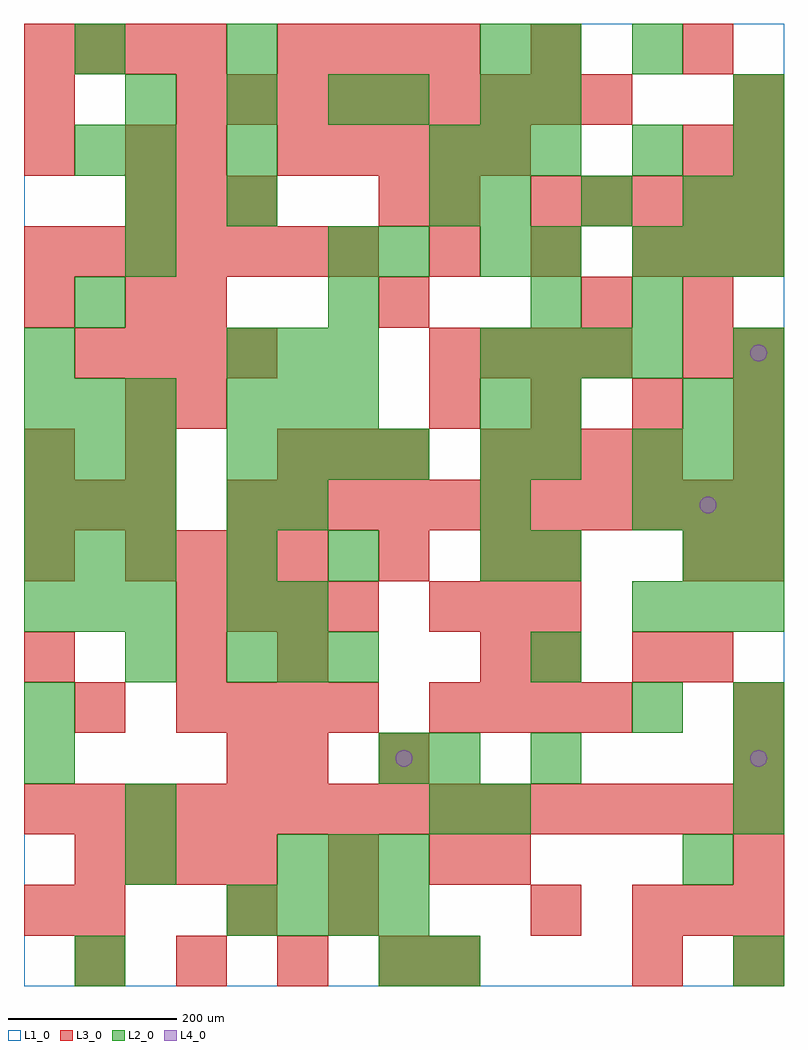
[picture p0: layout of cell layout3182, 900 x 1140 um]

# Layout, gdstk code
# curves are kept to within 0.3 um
import gdstk
lib = gdstk.Library(unit=1e-6, precision=1e-09)
def R(c, l, rs):  # rectangles x0, y0, x1, y1
    for r in rs: c.add(gdstk.rectangle(r[:2], r[2:], *l))
def A(c, l, x, y, w, h, nx, ny, dx, dy):  # array of equal rectangles
    R(c, l, [(x+i*dx, y+j*dy, x+i*dx+w, y+j*dy+h) for i in range(nx) for j in range(ny)])
def P(c, l, *ps):  # polygons
    for p in ps: c.add(gdstk.Polygon(p, *l))
L1_0 = (1, 0)
L2_0 = (2, 0)
L3_0 = (3, 0)
L4_0 = (4, 0)

layout3182 = lib.new_cell('layout3182')
R(layout3182, L1_0, [(0,0,900,1140)])
A(layout3182, L2_0, 240, 60, 60, 60, 4, 2, 60, 540)
A(layout3182, L2_0, 300, 120, 60, 60, 3, 1, 60, 0)
A(layout3182, L2_0, 840, 180, 60, 60, 1, 3, 0, 60)
A(layout3182, L2_0, 600, 240, 60, 60, 1, 4, 0, 120)
A(layout3182, L2_0, 240, 360, 60, 60, 3, 2, 60, 300)
A(layout3182, L2_0, 0, 420, 60, 60, 3, 5, 60, 60)
A(layout3182, L2_0, 240, 420, 60, 60, 1, 3, 0, 60)
A(layout3182, L2_0, 720, 420, 60, 60, 3, 2, 60, 120)
A(layout3182, L2_0, 540, 480, 60, 60, 1, 4, 0, 60)
A(layout3182, L2_0, 720, 600, 60, 60, 3, 2, 60, 240)
A(layout3182, L2_0, 240, 720, 60, 60, 3, 1, 60, 0)
A(layout3182, L2_0, 540, 720, 60, 60, 4, 1, 60, 0)
A(layout3182, L2_0, 120, 840, 60, 60, 1, 3, 0, 60)
A(layout3182, L2_0, 540, 900, 60, 60, 3, 1, 120, 0)
A(layout3182, L2_0, 840, 900, 60, 60, 1, 3, 0, 60)
A(layout3182, L2_0, 480, 960, 60, 60, 3, 1, 60, 0)
A(layout3182, L2_0, 120, 1020, 60, 60, 3, 1, 120, 0)
R(layout3182, L2_0, [(60,0,120,60), (420,0,480,60), (480,0,540,60), (840,0,900,60), (120,120,180,180), (780,120,840,180), (120,180,180,240), (480,180,540,240), (540,180,600,240), (0,240,60,300), (420,240,480,300), (480,240,540,300), (0,300,60,360), (720,300,780,360), (120,360,180,420), (300,420,360,480), (360,480,420,540), (780,480,840,540), (840,480,900,540), (300,540,360,600), (600,660,660,720), (780,660,840,720), (840,660,900,720), (0,720,60,780), (840,720,900,780), (60,780,120,840), (360,780,420,840), (600,780,660,840), (720,780,780,840), (360,840,420,900), (420,840,480,900), (540,840,600,900), (600,840,660,900), (240,900,300,960), (480,900,540,960), (60,960,120,1020), (240,960,300,1020), (720,960,780,1020), (420,1020,480,1080), (540,1020,600,1080), (600,1020,660,1080), (60,1080,120,1140), (240,1080,300,1140), (540,1080,600,1140), (600,1080,660,1140), (720,1080,780,1140)])
A(layout3182, L3_0, 60, 0, 60, 60, 4, 1, 120, 0)
A(layout3182, L3_0, 840, 0, 60, 60, 1, 3, 0, 120)
A(layout3182, L3_0, 720, 60, 60, 60, 3, 1, 60, 0)
A(layout3182, L3_0, 60, 120, 60, 60, 4, 2, 60, 600)
A(layout3182, L3_0, 0, 180, 60, 60, 15, 1, 60, 0)
A(layout3182, L3_0, 180, 300, 60, 60, 4, 2, 60, 120)
A(layout3182, L3_0, 480, 300, 60, 60, 4, 2, 60, 420)
A(layout3182, L3_0, 0, 360, 60, 60, 1, 3, 0, 120)
A(layout3182, L3_0, 180, 360, 60, 60, 1, 3, 0, 300)
A(layout3182, L3_0, 480, 420, 60, 60, 3, 1, 60, 0)
A(layout3182, L3_0, 120, 480, 60, 60, 4, 1, 60, 0)
A(layout3182, L3_0, 840, 480, 60, 60, 1, 5, 0, 120)
A(layout3182, L3_0, 0, 540, 60, 60, 3, 1, 60, 0)
A(layout3182, L3_0, 240, 540, 60, 60, 11, 1, 60, 0)
A(layout3182, L3_0, 300, 600, 60, 60, 3, 1, 60, 0)
A(layout3182, L3_0, 540, 600, 60, 60, 4, 1, 60, 0)
A(layout3182, L3_0, 480, 660, 60, 60, 4, 1, 120, 0)
A(layout3182, L3_0, 780, 720, 60, 60, 1, 3, 0, 60)
A(layout3182, L3_0, 180, 780, 60, 60, 3, 1, 240, 0)
A(layout3182, L3_0, 0, 840, 60, 60, 7, 1, 60, 0)
A(layout3182, L3_0, 480, 840, 60, 60, 3, 1, 120, 0)
A(layout3182, L3_0, 120, 900, 60, 60, 3, 1, 60, 0)
A(layout3182, L3_0, 600, 900, 60, 60, 5, 1, 60, 0)
A(layout3182, L3_0, 300, 960, 60, 60, 5, 1, 60, 0)
A(layout3182, L3_0, 180, 1020, 60, 60, 9, 1, 60, 0)
A(layout3182, L3_0, 0, 1080, 60, 60, 4, 1, 60, 0)
A(layout3182, L3_0, 300, 1080, 60, 60, 4, 1, 60, 0)
R(layout3182, L3_0, [(480,0,540,60), (720,0,780,60), (0,60,60,120), (60,60,120,120), (240,60,300,120), (360,60,420,120), (600,60,660,120), (360,120,420,180), (480,120,540,180), (540,120,600,180), (240,240,300,300), (300,240,360,300), (420,240,480,300), (60,300,120,360), (840,300,900,360), (300,360,360,420), (540,360,600,420), (600,360,660,420), (720,360,780,420), (780,360,840,420), (420,480,480,540), (540,480,600,540), (600,480,660,540), (780,480,840,540), (120,600,180,660), (120,660,180,720), (0,780,60,840), (120,780,180,840), (420,900,480,960), (480,900,540,960), (0,960,60,1020), (120,960,180,1020), (780,960,840,1020), (0,1020,60,1080), (840,1020,900,1080), (600,1080,660,1140), (780,1080,840,1140)])
P(layout3182, L4_0, [(460,270),(459.239,273.827),(457.071,277.071),(453.827,279.239),(450,280),(446.173,279.239),(442.929,277.071),(440.761,273.827),(440,270),(440.761,266.173),(442.929,262.929),(446.173,260.761),(450,260),(453.827,260.761),(457.071,262.929),(459.239,266.173)],
  [(820,570),(819.239,573.827),(817.071,577.071),(813.827,579.239),(810,580),(806.173,579.239),(802.929,577.071),(800.761,573.827),(800,570),(800.761,566.173),(802.929,562.929),(806.173,560.761),(810,560),(813.827,560.761),(817.071,562.929),(819.239,566.173)],
  [(880,270),(879.239,273.827),(877.071,277.071),(873.827,279.239),(870,280),(866.173,279.239),(862.929,277.071),(860.761,273.827),(860,270),(860.761,266.173),(862.929,262.929),(866.173,260.761),(870,260),(873.827,260.761),(877.071,262.929),(879.239,266.173)],
  [(880,750),(879.239,753.827),(877.071,757.071),(873.827,759.239),(870,760),(866.173,759.239),(862.929,757.071),(860.761,753.827),(860,750),(860.761,746.173),(862.929,742.929),(866.173,740.761),(870,740),(873.827,740.761),(877.071,742.929),(879.239,746.173)])

lib.write_gds('layout3182.gds')
